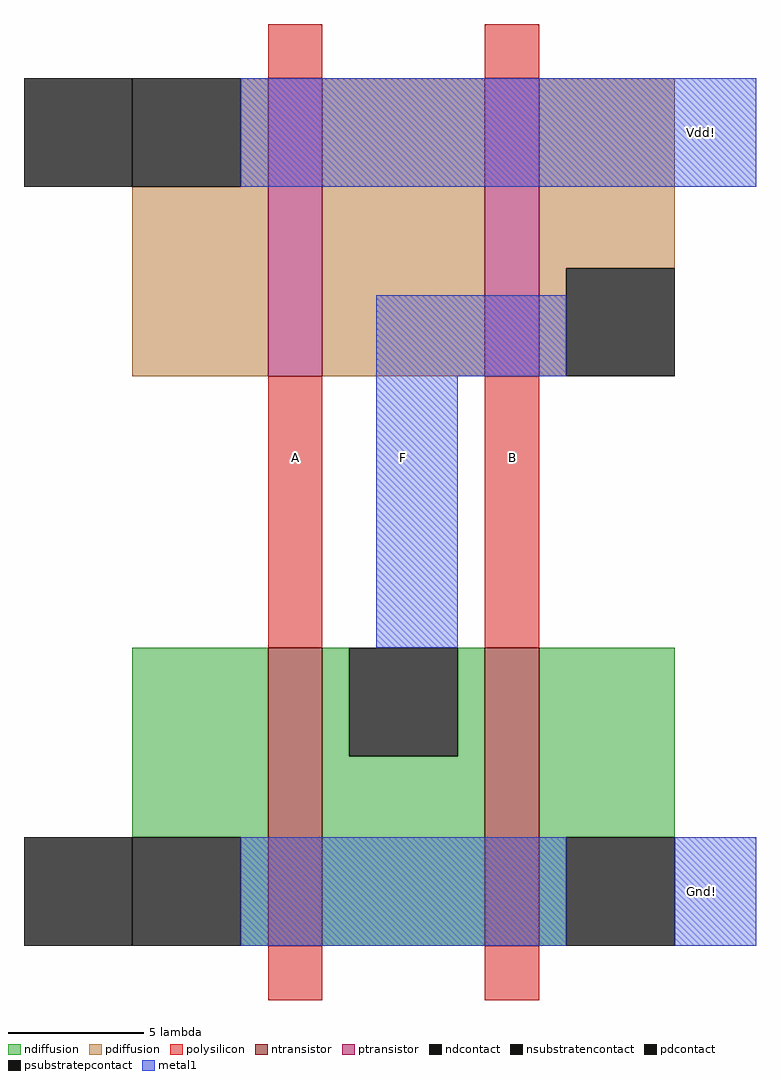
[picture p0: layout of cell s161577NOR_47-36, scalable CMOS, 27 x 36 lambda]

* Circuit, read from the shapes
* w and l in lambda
.subckt s161577NOR_47-36 A B F Gnd! Vdd!
M1 F A Gnd! Gnd! nfet w=11 l=2
M2 Gnd! B F Gnd! nfet w=11 l=2
M3 n1 A Vdd! Vdd! pfet w=11 l=2
M4 F B n1 Vdd! pfet w=11 l=2
.ends

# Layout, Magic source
magic
tech scmos
<< polysilicon >>
rect -7 14 -5 16
rect 1 14 3 16
rect -7 -7 -5 3
rect 1 -7 3 3
rect -7 -20 -5 -18
rect 1 -20 3 -18
<< ndiffusion >>
rect -12 -14 -7 -7
rect -8 -18 -7 -14
rect -5 -11 -4 -7
rect 0 -11 1 -7
rect -5 -18 1 -11
rect 3 -14 8 -7
rect 3 -18 4 -14
<< pdiffusion >>
rect -8 10 -7 14
rect -12 3 -7 10
rect -5 3 1 14
rect 3 7 8 14
rect 3 3 4 7
<< metal1 >>
rect -8 10 11 14
rect -3 3 4 6
rect -3 -7 0 3
rect -8 -18 4 -14
rect 8 -18 11 -14
<< ntransistor >>
rect -7 -18 -5 -7
rect 1 -18 3 -7
<< ptransistor >>
rect -7 3 -5 14
rect 1 3 3 14
<< ndcontact >>
rect -12 -18 -8 -14
rect -4 -11 0 -7
rect 4 -18 8 -14
<< pdcontact >>
rect -12 10 -8 14
rect 4 3 8 7
<< psubstratepcontact >>
rect -16 -18 -12 -14
<< nsubstratencontact >>
rect -16 10 -12 14
<< labels >>
rlabel polysilicon -6 0 -6 0 1 A
rlabel polysilicon 2 0 2 0 1 B
rlabel metal1 -2 0 -2 0 1 F
rlabel metal1 9 12 9 12 6 Vdd!
rlabel metal1 9 -16 9 -16 8 Gnd!
<< end >>
